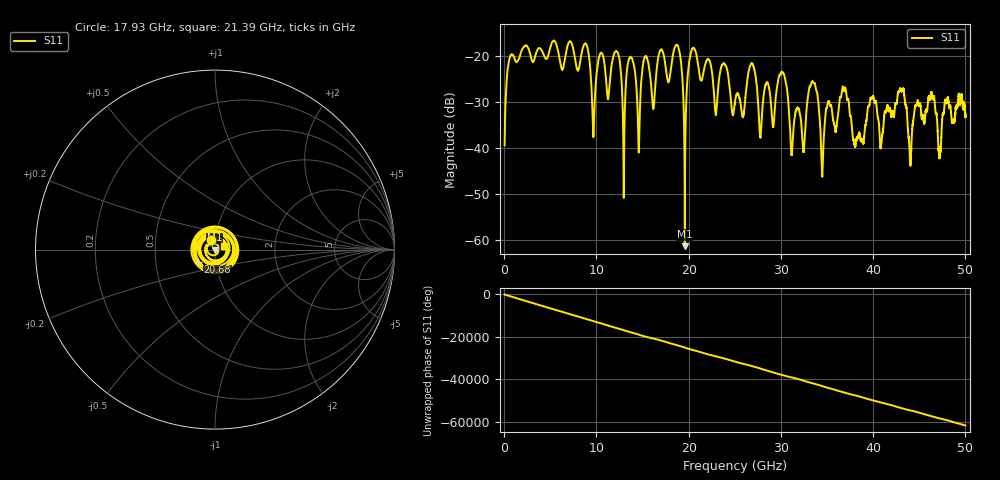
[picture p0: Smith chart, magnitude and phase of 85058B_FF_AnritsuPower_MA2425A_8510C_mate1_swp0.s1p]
!Created with skrf (http://scikit-rf.org).
# Hz S RI R 50.0
!freq ReS11 ImS11
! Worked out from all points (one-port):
!   10001 points, 45 MHz to 50 GHz, reference 50 ohm
!   lowest |S11| = -61.3 dB at 19.58 GHz (marker M1), VSWR 1.00, Z = 49.9 + j0.00467 ohm
!   |S11| at or under -10 dB: start of sweep to end of sweep
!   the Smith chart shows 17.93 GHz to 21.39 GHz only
!   S11 on the Smith chart (normalised r, x): 17.93 GHz: 0.95, +0.10; 20.68 GHz: 0.82, -0.12; 21.39 GHz: 1.10, +0.05
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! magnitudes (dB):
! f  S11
! 45 MHz  -39.4
! 774.3 MHz  -19.7
! 6.289 GHz  -23.0
! 8.862 GHz  -17.3
! 9.681 GHz  -37.3
! 10.42 GHz  -19.5
! 12.53 GHz  -21.2
! 12.97 GHz  -49.9
! 13.66 GHz  -20.2
! 14.57 GHz  -40.2
! 15.28 GHz  -20.2
! 17.93 GHz  -24.9
! 18.78 GHz  -17.7
! 19.58 GHz  -61.3
! 20.68 GHz  -18.6
! 21.39 GHz  -25.3
! 25.02 GHz  -30.0
! 26.85 GHz  -21.6
! 27.74 GHz  -37.4
! 29.16 GHz  -35.4
! 30.18 GHz  -23.6
! 31.27 GHz  -38.9
! 33.44 GHz  -25.6
! 34.48 GHz  -46.3
! 35.11 GHz  -30.1
! 37.51 GHz  -32.9
! 43.76 GHz  -35.5
! 50 GHz  -33.3
